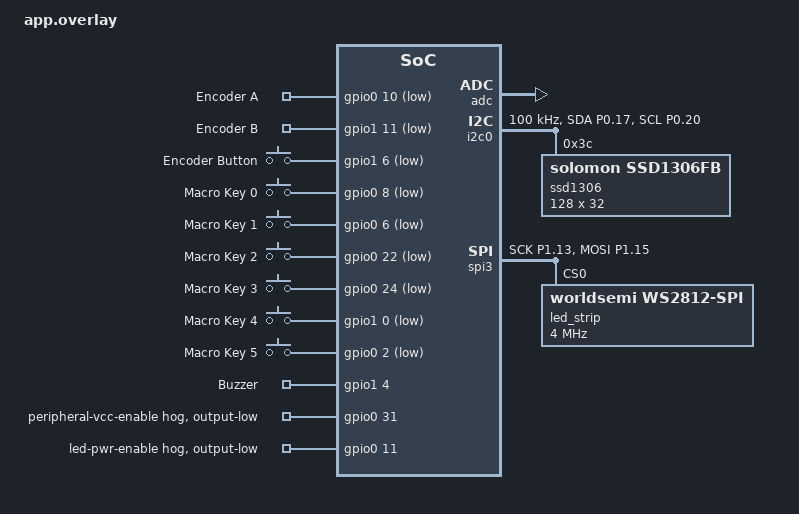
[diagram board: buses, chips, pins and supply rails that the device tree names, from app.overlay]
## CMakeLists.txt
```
# SPDX-License-Identifier: Apache-2.0

cmake_minimum_required(VERSION 3.20.0)

find_package(Zephyr REQUIRED HINTS $ENV{ZEPHYR_BASE})
project(hpadv2)

find_package(Python3 REQUIRED COMPONENTS Interpreter)

set(HPAD_GENERATED_MAIN "${CMAKE_CURRENT_BINARY_DIR}/generated/main.c")
execute_process(
  COMMAND ${Python3_EXECUTABLE}
    ${CMAKE_CURRENT_SOURCE_DIR}/tools/generate_dfu_menu_main.py
    ${CMAKE_CURRENT_SOURCE_DIR}/src/main.c
    ${HPAD_GENERATED_MAIN}
  RESULT_VARIABLE HPAD_DFU_PATCH_RESULT
)
if(NOT HPAD_DFU_PATCH_RESULT EQUAL 0)
  message(FATAL_ERROR "Failed to generate menu-integrated DFU main.c")
endif()

FILE(GLOB app_sources src/*.c)
list(REMOVE_ITEM app_sources
  "${CMAKE_CURRENT_SOURCE_DIR}/src/main.c"
  "${CMAKE_CURRENT_SOURCE_DIR}/src/adafruit_dfu_entry.c"
)
target_sources(app PRIVATE ${app_sources} ${HPAD_GENERATED_MAIN})

find_package(Git QUIET)

set(HPAD_FIRMWARE_VERSION "unknown")

if(GIT_FOUND)
  execute_process(
    COMMAND ${GIT_EXECUTABLE} describe --tags --always --abbrev=12
    WORKING_DIRECTORY ${CMAKE_CURRENT_SOURCE_DIR}
    RESULT_VARIABLE HPAD_GIT_DESCRIBE_RESULT
    OUTPUT_VARIABLE HPAD_GIT_DESCRIBE
    OUTPUT_STRIP_TRAILING_WHITESPACE
    ERROR_QUIET
  )

  if(HPAD_GIT_DESCRIBE_RESULT EQUAL 0 AND NOT HPAD_GIT_DESCRIBE STREQUAL "")
    set(HPAD_FIRMWARE_VERSION "${HPAD_GIT_DESCRIBE}")

    execute_process(
      COMMAND ${GIT_EXECUTABLE} diff-index --quiet HEAD --
      WORKING_DIRECTORY ${CMAKE_CURRENT_SOURCE_DIR}
      RESULT_VARIABLE HPAD_GIT_DIRTY_RESULT
      OUTPUT_QUIET
      ERROR_QUIET
    )

    if(HPAD_GIT_DIRTY_RESULT EQUAL 1
       AND NOT HPAD_GIT_DESCRIBE MATCHES "-g[0-9a-fA-F]+$"
       AND NOT HPAD_GIT_DESCRIBE MATCHES "^[0-9a-fA-F]+$")
      execute_process(
        COMMAND ${GIT_EXECUTABLE} rev-parse --short=12 HEAD
        WORKING_DIRECTORY ${CMAKE_CURRENT_SOURCE_DIR}
        RESULT_VARIABLE HPAD_GIT_HASH_RESULT
        OUTPUT_VARIABLE HPAD_GIT_HASH
        OUTPUT_STRIP_TRAILING_WHITESPACE
        ERROR_QUIET
      )

      if(HPAD_GIT_HASH_RESULT EQUAL 0 AND NOT HPAD_GIT_HASH STREQUAL "")
        set(HPAD_FIRMWARE_VERSION "${HPAD_GIT_DESCRIBE}-${HPAD_GIT_HASH}")
      endif()
    endif()
  endif()
endif()

target_compile_definitions(app PRIVATE
  HPAD_FIRMWARE_VERSION="${HPAD_FIRMWARE_VERSION}"
)
```

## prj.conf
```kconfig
CONFIG_BUILD_OUTPUT_UF2=y

CONFIG_MULTITHREADING=y
CONFIG_STDOUT_CONSOLE=y
CONFIG_HEAP_MEM_POOL_SIZE=16384
CONFIG_MAIN_STACK_SIZE=2048
CONFIG_SYSTEM_WORKQUEUE_STACK_SIZE=2048

CONFIG_LOG=y
CONFIG_LOG_MODE_DEFERRED=y
CONFIG_CONSOLE=y
CONFIG_SERIAL=y
CONFIG_UART_CONSOLE=y
CONFIG_I2C=y
CONFIG_GPIO=y
CONFIG_SPI=y
CONFIG_ADC=y
CONFIG_DISPLAY=y
CONFIG_LED_STRIP=y
CONFIG_WS2812_STRIP_SPI=y
CONFIG_SSD1306=n
CONFIG_CHARACTER_FRAMEBUFFER=y
CONFIG_ESB=y
CONFIG_ESB_DYNAMIC_INTERRUPTS=y
CONFIG_BT=y
CONFIG_BT_PERIPHERAL=y
CONFIG_BT_MAX_CONN=1
CONFIG_BT_MAX_PAIRED=1
CONFIG_BT_SMP=y
CONFIG_BT_DEVICE_NAME="HPADv2 Keyboard"
CONFIG_BT_DEVICE_APPEARANCE=961
CONFIG_BT_GATT_AUTO_SEC_REQ=n
CONFIG_BT_AUTO_PHY_UPDATE=n
CONFIG_BT_SETTINGS=y
CONFIG_BT_HIDS=y
CONFIG_BT_HIDS_MAX_CLIENT_COUNT=1
CONFIG_BT_HIDS_INPUT_REP_MAX=1
CONFIG_BT_HIDS_OUTPUT_REP_MAX=0
CONFIG_BT_HIDS_FEATURE_REP_MAX=0
CONFIG_BT_HIDS_DEFAULT_PERM_RW_ENCRYPT=y
CONFIG_BT_GATT_UUID16_POOL_SIZE=30
CONFIG_BT_GATT_CHRC_POOL_SIZE=12
CONFIG_BT_CONN_CTX=y
CONFIG_MPSL=y
CONFIG_MPSL_DYNAMIC_INTERRUPTS=y
CONFIG_MPSL_WORK_STACK_SIZE=640
CONFIG_BT_UNINIT_MPSL_ON_DISABLE=y
CONFIG_ENTROPY_GENERATOR=y
CONFIG_SETTINGS=y
CONFIG_SETTINGS_NVS=y
CONFIG_FLASH=y
CONFIG_FLASH_PAGE_LAYOUT=y
CONFIG_FLASH_MAP=y
CONFIG_NVS=y
CONFIG_MPU_ALLOW_FLASH_WRITE=y
CONFIG_POWEROFF=y
CONFIG_REBOOT=y
```

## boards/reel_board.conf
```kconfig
CONFIG_SPI=y
CONFIG_FLASH_LOAD_OFFSET=0x26000
```

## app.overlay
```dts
#include <zephyr/dt-bindings/led/led.h>
#include <zephyr/dt-bindings/pinctrl/nrf-pinctrl.h>

/ {
	chosen {
		zephyr,display = &ssd1306;
	};

	encoder_inputs {
		compatible = "gpio-keys";

		encoder_a: encoder_a {
			gpios = <&gpio0 10 (GPIO_PULL_UP | GPIO_ACTIVE_LOW)>;
			label = "Encoder A";
		};

		encoder_b: encoder_b {
			gpios = <&gpio1 11 (GPIO_PULL_UP | GPIO_ACTIVE_LOW)>;
			label = "Encoder B";
		};

		encoder_button: encoder_button {
			gpios = <&gpio1 6 (GPIO_PULL_UP | GPIO_ACTIVE_LOW)>;
			label = "Encoder Button";
		};
	};

	macropad_keys {
		compatible = "gpio-keys";

		// good
		macro_key_0: macro_key_0 {
			gpios = <&gpio0 8 (GPIO_PULL_UP | GPIO_ACTIVE_LOW)>;
			label = "Macro Key 0";
		};

		// good
		macro_key_1: macro_key_1 {
			gpios = <&gpio0 6 (GPIO_PULL_UP | GPIO_ACTIVE_LOW)>;
			label = "Macro Key 1";
		};

		// good
		macro_key_2: macro_key_2 {
			gpios = <&gpio0 22 (GPIO_PULL_UP | GPIO_ACTIVE_LOW)>;
			label = "Macro Key 2";
		};

		// good
		macro_key_3: macro_key_3 {
			gpios = <&gpio0 24 (GPIO_PULL_UP | GPIO_ACTIVE_LOW)>;
			label = "Macro Key 3";
		};

		//  good
		macro_key_4: macro_key_4 {
			gpios = <&gpio1 0 (GPIO_PULL_UP | GPIO_ACTIVE_LOW)>;
			label = "Macro Key 4";
		};

		// good
		macro_key_5: macro_key_5 {
			gpios = <&gpio0 2 (GPIO_PULL_UP | GPIO_ACTIVE_LOW)>;
			label = "Macro Key 5";
		};
	};

	buzzer_gpio {
		compatible = "gpio-leds";
		buzzer_out: buzzer {
			gpios = <&gpio1 4 GPIO_ACTIVE_HIGH>;
			label = "Buzzer";
		};
	};

	aliases {
		encoder-a = &encoder_a;
		encoder-b = &encoder_b;
		encoder-button = &encoder_button;
		macro-key-0 = &macro_key_0;
		macro-key-1 = &macro_key_1;
		macro-key-2 = &macro_key_2;
		macro-key-3 = &macro_key_3;
		macro-key-4 = &macro_key_4;
		macro-key-5 = &macro_key_5;
		led-strip = &led_strip;
		buzzer = &buzzer_out;
	};
};

&gpio0 {
	peripheral_vcc_enable: peripheral_vcc_enable {
		gpio-hog;
		gpios = <31 GPIO_ACTIVE_HIGH>;
		output-low;
		line-name = "peripheral-vcc-enable";
	};

	led_pwr_enable: led_pwr_enable {
		gpio-hog;
		gpios = <11 GPIO_ACTIVE_HIGH>;
		output-low;
		line-name = "led-pwr-enable";
	};
};

&adc {
	status = "okay";
};

&pinctrl {
	oled_i2c_default: oled_i2c_default {
		group1 {
			psels = <NRF_PSEL(TWIM_SDA, 0, 17)>,
				<NRF_PSEL(TWIM_SCL, 0, 20)>;
			bias-pull-up;
		};
	};

	oled_i2c_sleep: oled_i2c_sleep {
		group1 {
			psels = <NRF_PSEL(TWIM_SDA, 0, 17)>,
				<NRF_PSEL(TWIM_SCL, 0, 20)>;
			low-power-enable;
		};
	};

	ws2812_spi_default: ws2812_spi_default {
		group1 {
			psels = <NRF_PSEL(SPIM_SCK, 1, 13)>,
				<NRF_PSEL(SPIM_MOSI, 1, 15)>;
			nordic,drive-mode = <NRF_DRIVE_H0H1>;
		};
	};

	ws2812_spi_sleep: ws2812_spi_sleep {
		group1 {
			psels = <NRF_PSEL(SPIM_SCK, 1, 13)>,
				<NRF_PSEL(SPIM_MOSI, 1, 15)>;
			low-power-enable;
		};
	};
};

&i2c0 {
	/delete-property/ zephyr,pm-device-runtime-auto;
	compatible = "nordic,nrf-twim";
	clock-frequency = <100000>;
	zephyr,concat-buf-size = <513>;
	zephyr,flash-buf-max-size = <513>;
	pinctrl-0 = <&oled_i2c_default>;
	pinctrl-1 = <&oled_i2c_sleep>;
	pinctrl-names = "default", "sleep";
	status = "okay";

	ssd1306: ssd1306@3c {
		compatible = "solomon,ssd1306fb";
		status = "okay";
		reg = <0x3c>;

		width = <128>;
		height = <32>;

		segment-offset = <0>;
		page-offset = <0>;
		display-offset = <0>;
		multiplex-ratio = <31>;
		com-sequential;
		prechargep = <0xf1>;
		ready-time-ms = <100>;
	};
};

&spi3 {
	compatible = "nordic,nrf-spim";
	pinctrl-0 = <&ws2812_spi_default>;
	pinctrl-1 = <&ws2812_spi_sleep>;
	pinctrl-names = "default", "sleep";
	status = "okay";

	led_strip: ws2812@0 {
		compatible = "worldsemi,ws2812-spi";
		reg = <0>;
		spi-max-frequency = <4000000>;
		chain-length = <6>;
		color-mapping = <LED_COLOR_ID_GREEN LED_COLOR_ID_RED LED_COLOR_ID_BLUE>;
		spi-one-frame = <0x70>;
		spi-zero-frame = <0x40>;
		reset-delay = <80>;
	};
};
```

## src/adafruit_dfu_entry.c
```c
/*
 * SPDX-License-Identifier: Apache-2.0
 *
 * Enter the installed Adafruit nRF52 UF2 bootloader's BLE OTA DFU mode.
 */

#include <stdbool.h>

#include <zephyr/device.h>
#include <zephyr/drivers/gpio.h>
#include <zephyr/kernel.h>
#include <zephyr/logging/log.h>
#include <zephyr/sys/reboot.h>
#include <zephyr/sys/util.h>

#include <hal/nrf_power.h>

LOG_MODULE_REGISTER(adafruit_dfu_entry, LOG_LEVEL_INF);

#define ADAFRUIT_DFU_MAGIC_OTA_RESET 0xA8U
#define ADAFRUIT_DFU_HOLD_MS 4000U

static const struct gpio_dt_spec encoder_button =
	GPIO_DT_SPEC_GET(DT_ALIAS(encoder_button), gpios);

static struct gpio_callback encoder_button_callback;
static struct k_work_delayable dfu_hold_work;

static bool encoder_button_pressed(void)
{
	return gpio_pin_get_dt(&encoder_button) > 0;
}

static void enter_ble_dfu(struct k_work *work)
{
	ARG_UNUSED(work);

	if (!encoder_button_pressed()) {
		return;
	}

	LOG_WRN("Encoder held for %u ms; entering BLE DFU", ADAFRUIT_DFU_HOLD_MS);
	NRF_POWER->GPREGRET = ADAFRUIT_DFU_MAGIC_OTA_RESET;
	sys_reboot(SYS_REBOOT_COLD);
}

static void encoder_button_changed(const struct device *port,
				   struct gpio_callback *callback,
				   uint32_t pins)
{
	ARG_UNUSED(port);
	ARG_UNUSED(callback);

	if ((pins & BIT(encoder_button.pin)) == 0U) {
		return;
	}

	if (encoder_button_pressed()) {
		(void)k_work_reschedule(&dfu_hold_work, K_MSEC(ADAFRUIT_DFU_HOLD_MS));
	} else {
		(void)k_work_cancel_delayable(&dfu_hold_work);
	}
}

static int adafruit_dfu_entry_init(void)
{
	int rc;

	if (!gpio_is_ready_dt(&encoder_button)) {
		LOG_WRN("Encoder button GPIO is not ready; BLE DFU entry disabled");
		return 0;
	}

	k_work_init_delayable(&dfu_hold_work, enter_ble_dfu);

	rc = gpio_pin_configure_dt(&encoder_button, GPIO_INPUT);
	if (rc != 0) {
		LOG_WRN("Failed to configure encoder button for BLE DFU: %d", rc);
		return 0;
	}

	gpio_init_callback(&encoder_button_callback, encoder_button_changed,
		BIT(encoder_button.pin));
	rc = gpio_add_callback(encoder_button.port, &encoder_button_callback);
	if (rc != 0) {
		LOG_WRN("Failed to add BLE DFU encoder callback: %d", rc);
		return 0;
	}

	rc = gpio_pin_interrupt_configure_dt(&encoder_button, GPIO_INT_EDGE_BOTH);
	if (rc != 0) {
		(void)gpio_remove_callback(encoder_button.port, &encoder_button_callback);
		LOG_WRN("Failed to configure BLE DFU encoder interrupt: %d", rc);
		return 0;
	}

	LOG_INF("Hold encoder for %u ms to enter BLE DFU", ADAFRUIT_DFU_HOLD_MS);
	return 0;
}

SYS_INIT(adafruit_dfu_entry_init, APPLICATION, 0);
```

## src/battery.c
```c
#include "battery.h"

#include <errno.h>
#include <stdint.h>

#include <zephyr/drivers/adc.h>
#include <zephyr/device.h>
#include <zephyr/dt-bindings/adc/nrf-saadc.h>
#include <zephyr/logging/log.h>

LOG_MODULE_REGISTER(battery, LOG_LEVEL_INF);

#define BATTERY_ADC_CHANNEL_ID 0U
#define BATTERY_ADC_RESOLUTION 14U
#define BATTERY_ADC_OVERSAMPLING 4U

static const struct device *const battery_adc = DEVICE_DT_GET(DT_NODELABEL(adc));
static bool battery_ready;
static int16_t battery_sample_raw;
static struct adc_channel_cfg battery_channel_cfg = {
	.gain = ADC_GAIN_1_6,
	.reference = ADC_REF_INTERNAL,
	.acquisition_time = ADC_ACQ_TIME(ADC_ACQ_TIME_MICROSECONDS, 40),
	.channel_id = BATTERY_ADC_CHANNEL_ID,
	.input_positive = NRF_SAADC_VDDHDIV5,
};
static struct adc_sequence battery_sequence = {
	.channels = BIT(BATTERY_ADC_CHANNEL_ID),
	.buffer = &battery_sample_raw,
	.buffer_size = sizeof(battery_sample_raw),
	.oversampling = BATTERY_ADC_OVERSAMPLING,
	.calibrate = true,
	.resolution = BATTERY_ADC_RESOLUTION,
};

int battery_init(void)
{
	int rc;

	if (!device_is_ready(battery_adc)) {
		LOG_WRN("Battery ADC not ready");
		return -ENODEV;
	}

	rc = adc_channel_setup(battery_adc, &battery_channel_cfg);
	if (rc != 0) {
		LOG_ERR("Battery ADC channel setup failed: %d", rc);
		return rc;
	}

	battery_ready = true;
	return 0;
}

uint16_t battery_sample_mv(void)
{
	int rc;
	int32_t sample_mv;

	if (!battery_ready) {
		return 0U;
	}

	rc = adc_read(battery_adc, &battery_sequence);
	battery_sequence.calibrate = false;
	if (rc != 0) {
		LOG_WRN("Battery ADC read failed: %d", rc);
		return 0U;
	}

	sample_mv = battery_sample_raw;
	rc = adc_raw_to_millivolts(adc_ref_internal(battery_adc),
		battery_channel_cfg.gain,
		battery_sequence.resolution,
		&sample_mv);
	if (rc != 0) {
		LOG_WRN("Battery ADC conversion failed: %d", rc);
		return 0U;
	}

	sample_mv *= 5;
	if (sample_mv <= 0) {
		return 0U;
	}
	if (sample_mv > UINT16_MAX) {
		return UINT16_MAX;
	}

	return (uint16_t)sample_mv;
}
```

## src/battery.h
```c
#ifndef HPADV2_BATTERY_H_
#define HPADV2_BATTERY_H_

#include <stdint.h>

int battery_init(void);
uint16_t battery_sample_mv(void);

#endif
```

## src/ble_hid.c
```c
#include "ble_hid.h"

#include <errno.h>
#include <stdbool.h>
#include <stdint.h>
#include <string.h>

#include <bluetooth/services/hids.h>
#include <zephyr/bluetooth/bluetooth.h>
#include <zephyr/bluetooth/conn.h>
#include <zephyr/bluetooth/gatt.h>
#include <zephyr/bluetooth/hci.h>
#include <zephyr/bluetooth/uuid.h>
#include <zephyr/kernel.h>
#include <zephyr/logging/log.h>
#include <zephyr/settings/settings.h>
#include <zephyr/sys/atomic.h>
#include <zephyr/sys/util.h>

LOG_MODULE_REGISTER(ble_hid, LOG_LEVEL_INF);

#define BLE_HID_DEVICE_NAME CONFIG_BT_DEVICE_NAME
#define BLE_HID_DEVICE_NAME_LEN (sizeof(BLE_HID_DEVICE_NAME) - 1)
#define BASE_USB_HID_SPEC_VERSION 0x0101
#define INPUT_REP_KEYS_IDX 0
#define INPUT_REP_KEYS_REF_ID 0
#define INPUT_REP_KEYS_LEN 8
#define HID_KEY_ARRAY_OFFSET 2U
#define HID_KEY_ARRAY_LEN 6U
#define KEY_1_MASK BIT(0)
#define KEY_2_MASK BIT(1)
#define KEY_3_MASK BIT(2)
#define KEY_4_MASK BIT(3)
#define KEY_5_MASK BIT(4)
#define KEY_6_MASK BIT(5)
#define HID_USAGE_KEYBOARD_ESCAPE 0x29
#define HID_USAGE_KEYBOARD_HOME 0x4A
#define HID_USAGE_KEYBOARD_PAGE_UP 0x4B
#define HID_USAGE_KEYBOARD_PAGE_DOWN 0x4E

BT_HIDS_DEF(hids_obj, INPUT_REP_KEYS_LEN);

struct ble_hid_key_mapping {
	uint8_t key_mask;
	uint8_t usage;
};

static const struct ble_hid_key_mapping kindle_key_mappings[] = {
	{ .key_mask = KEY_1_MASK, .usage = HID_USAGE_KEYBOARD_HOME },
	{ .key_mask = KEY_2_MASK, .usage = HID_USAGE_KEYBOARD_ESCAPE },
	{ .key_mask = KEY_3_MASK, .usage = BLE_HID_USAGE_KEYBOARD_UP_ARROW },
	{ .key_mask = KEY_4_MASK, .usage = HID_USAGE_KEYBOARD_PAGE_DOWN },
	{ .key_mask = KEY_5_MASK, .usage = BLE_HID_USAGE_KEYBOARD_DOWN_ARROW },
	{ .key_mask = KEY_6_MASK, .usage = HID_USAGE_KEYBOARD_PAGE_UP },
};

static struct bt_conn *active_conn;
static bool hids_initialized;
static bool advertising;
static bool ble_active;
static bool protocol_boot;
static uint8_t current_matrix_keys;
static uint8_t last_report[INPUT_REP_KEYS_LEN];
static atomic_t ble_state = ATOMIC_INIT(BLE_HID_STATE_INACTIVE);

static void state_set(enum ble_hid_state state)
{
	atomic_set(&ble_state, (atomic_val_t)state);
}

static const struct bt_data ad[] = {
	BT_DATA_BYTES(BT_DATA_GAP_APPEARANCE,
		(CONFIG_BT_DEVICE_APPEARANCE >> 0) & 0xff,
		(CONFIG_BT_DEVICE_APPEARANCE >> 8) & 0xff),
	BT_DATA_BYTES(BT_DATA_FLAGS, (BT_LE_AD_GENERAL | BT_LE_AD_NO_BREDR)),
	BT_DATA_BYTES(BT_DATA_UUID16_ALL, BT_UUID_16_ENCODE(BT_UUID_HIDS_VAL)),
};

static const struct bt_data sd[] = {
	BT_DATA(BT_DATA_NAME_COMPLETE, BLE_HID_DEVICE_NAME, BLE_HID_DEVICE_NAME_LEN),
};

static int advertising_start(void)
{
	const struct bt_le_adv_param *adv_param =
		BT_LE_ADV_PARAM(BT_LE_ADV_OPT_CONN,
			BT_GAP_ADV_FAST_INT_MIN_2,
			BT_GAP_ADV_FAST_INT_MAX_2,
			NULL);
	int rc;

	if (!ble_active || !bt_is_ready()) {
		state_set(BLE_HID_STATE_ERROR);
		return -EAGAIN;
	}

	rc = bt_le_adv_start(adv_param, ad, ARRAY_SIZE(ad), sd, ARRAY_SIZE(sd));
	if (rc == -EALREADY) {
		advertising = true;
		state_set(BLE_HID_STATE_ADVERTISING);
		return 0;
	}
	if (rc != 0) {
		LOG_WRN("BLE advertising start failed: %d", rc);
		state_set(BLE_HID_STATE_ERROR);
		return rc;
	}

	advertising = true;
	state_set(BLE_HID_STATE_ADVERTISING);
	LOG_INF("BLE HID advertising started");
	return 0;
}

static void advertising_stop(void)
{
	int rc;

	if (!bt_is_ready()) {
		advertising = false;
		return;
	}

	rc = bt_le_adv_stop();
	if ((rc != 0) && (rc != -EALREADY) && (rc != -EINVAL)) {
		LOG_WRN("BLE advertising stop failed: %d", rc);
	}
	advertising = false;
}

static void connected(struct bt_conn *conn, uint8_t err)
{
	int rc;

	if (!ble_active) {
		(void)bt_conn_disconnect(conn, BT_HCI_ERR_REMOTE_USER_TERM_CONN);
		return;
	}

	if (err != 0U) {
		LOG_WRN("BLE connection failed: 0x%02x", err);
		state_set(BLE_HID_STATE_ERROR);
		(void)advertising_start();
		return;
	}

	rc = bt_hids_connected(&hids_obj, conn);
	if (rc != 0) {
		LOG_WRN("Failed to notify HIDS about connection: %d", rc);
		state_set(BLE_HID_STATE_ERROR);
		(void)bt_conn_disconnect(conn, BT_HCI_ERR_REMOTE_USER_TERM_CONN);
		return;
	}

	if (active_conn != NULL) {
		(void)bt_conn_disconnect(conn, BT_HCI_ERR_REMOTE_USER_TERM_CONN);
		return;
	}

	active_conn = bt_conn_ref(conn);
	protocol_boot = false;
	advertising = false;
	state_set(BLE_HID_STATE_CONNECTED);
	LOG_INF("BLE HID connected");
}

static void disconnected(struct bt_conn *conn, uint8_t reason)
{
	int rc;

	rc = bt_hids_disconnected(&hids_obj, conn);
	if (rc != 0) {
		LOG_WRN("Failed to notify HIDS about disconnection: %d", rc);
	}

	if (active_conn == conn) {
		bt_conn_unref(active_conn);
		active_conn = NULL;
	}

	memset(last_report, 0, sizeof(last_report));
	current_matrix_keys = 0U;
	LOG_INF("BLE HID disconnected reason=0x%02x", reason);

	if (ble_active) {
		(void)advertising_start();
	} else {
		state_set(BLE_HID_STATE_INACTIVE);
	}
}

static void security_changed(struct bt_conn *conn, bt_security_t level,
			     enum bt_security_err err)
{
	ARG_UNUSED(conn);

	if (err != 0) {
		LOG_WRN("BLE security failed level=%u err=%d", level, err);
		if (ble_active && (conn == active_conn)) {
			state_set(BLE_HID_STATE_SECURITY_FAILED);
		}
		return;
	}

	if (ble_active && (conn == active_conn)) {
		state_set(BLE_HID_STATE_CONNECTED);
	}
	LOG_INF("BLE security changed level=%u", level);
}

BT_CONN_CB_DEFINE(conn_callbacks) = {
	.connected = connected,
	.disconnected = disconnected,
	.security_changed = security_changed,
};

static void hids_pm_evt_handler(enum bt_hids_pm_evt evt, struct bt_conn *conn)
{
	if (conn != active_conn) {
		return;
	}

	protocol_boot = (evt == BT_HIDS_PM_EVT_BOOT_MODE_ENTERED);
}

static int hids_init_once(void)
{
	static const uint8_t report_map[] = {
		0x05, 0x01,       /* Usage Page (Generic Desktop) */
		0x09, 0x06,       /* Usage (Keyboard) */
		0xA1, 0x01,       /* Collection (Application) */
		0x05, 0x07,       /* Usage Page (Key Codes) */
		0x19, 0xE0,       /* Usage Minimum (224) */
		0x29, 0xE7,       /* Usage Maximum (231) */
		0x15, 0x00,       /* Logical Minimum (0) */
		0x25, 0x01,       /* Logical Maximum (1) */
		0x75, 0x01,       /* Report Size (1) */
		0x95, 0x08,       /* Report Count (8) */
		0x81, 0x02,       /* Input (Data, Variable, Absolute) */
		0x95, 0x01,       /* Report Count (1) */
		0x75, 0x08,       /* Report Size (8) */
		0x81, 0x01,       /* Input (Constant) */
		0x95, 0x06,       /* Report Count (6) */
		0x75, 0x08,       /* Report Size (8) */
		0x15, 0x00,       /* Logical Minimum (0) */
		0x25, 0x65,       /* Logical Maximum (101) */
		0x05, 0x07,       /* Usage Page (Key Codes) */
		0x19, 0x00,       /* Usage Minimum (0) */
		0x29, 0x65,       /* Usage Maximum (101) */
		0x81, 0x00,       /* Input (Data, Array) */
		0xC0,             /* End Collection */
	};
	struct bt_hids_init_param hids_init = { 0 };
	struct bt_hids_inp_rep *input_report;
	int rc;

	if (hids_initialized) {
		return 0;
	}

	hids_init.info.bcd_hid = BASE_USB_HID_SPEC_VERSION;
	hids_init.info.b_country_code = 0x00;
	hids_init.info.flags = BT_HIDS_REMOTE_WAKE | BT_HIDS_NORMALLY_CONNECTABLE;
	hids_init.rep_map.data = report_map;
	hids_init.rep_map.size = sizeof(report_map);
	hids_init.is_kb = true;
	hids_init.pm_evt_handler = hids_pm_evt_handler;

	input_report = &hids_init.inp_rep_group_init.reports[INPUT_REP_KEYS_IDX];
	input_report->id = INPUT_REP_KEYS_REF_ID;
	input_report->size = INPUT_REP_KEYS_LEN;
	hids_init.inp_rep_group_init.cnt++;

	rc = bt_hids_init(&hids_obj, &hids_init);
	if (rc != 0) {
		LOG_ERR("HIDS init failed: %d", rc);
		return rc;
	}

	hids_initialized = true;
	return 0;
}

static bool report_contains_usage(const uint8_t report[INPUT_REP_KEYS_LEN], uint8_t usage)
{
	for (size_t index = 0U; index < HID_KEY_ARRAY_LEN; ++index) {
		if (report[HID_KEY_ARRAY_OFFSET + index] == usage) {
			return true;
		}
	}

	return false;
}

static int report_append_usage(uint8_t report[INPUT_REP_KEYS_LEN], uint8_t usage)
{
	if (usage == 0U) {
		return 0;
	}

	if (report_contains_usage(report, usage)) {
		return 0;
	}

	for (size_t index = 0U; index < HID_KEY_ARRAY_LEN; ++index) {
		size_t report_index = HID_KEY_ARRAY_OFFSET + index;

		if (report[report_index] == 0U) {
			report[report_index] = usage;
			return 0;
		}
	}

	return -ENOMEM;
}

static int build_report_from_matrix_keys(uint8_t keys, uint8_t report[INPUT_REP_KEYS_LEN])
{
	memset(report, 0, INPUT_REP_KEYS_LEN);

	for (size_t index = 0U; index < ARRAY_SIZE(kindle_key_mappings); ++index) {
		if ((keys & kindle_key_mappings[index].key_mask) == 0U) {
			continue;
		}

		int rc = report_append_usage(report, kindle_key_mappings[index].usage);

		if (rc != 0) {
			return rc;
		}
	}

	return 0;
}

static int ble_hid_send_report(const uint8_t report[INPUT_REP_KEYS_LEN], bool force)
{
	int rc;

	if (!ble_active) {
		return -EAGAIN;
	}
	if (active_conn == NULL) {
		return -ENOTCONN;
	}

	if (!force && (memcmp(last_report, report, sizeof(last_report)) == 0)) {
		return 0;
	}

	if (protocol_boot) {
		rc = bt_hids_boot_kb_inp_rep_send(&hids_obj, active_conn,
			report, INPUT_REP_KEYS_LEN, NULL);
	} else {
		rc = bt_hids_inp_rep_send(&hids_obj, active_conn,
			INPUT_REP_KEYS_IDX, report, INPUT_REP_KEYS_LEN, NULL);
	}
	if (rc != 0) {
		return rc;
	}

	memcpy(last_report, report, sizeof(last_report));
	return 0;
}

int ble_hid_start(void)
{
	int rc;

	state_set(BLE_HID_STATE_STARTING);

	rc = hids_init_once();
	if (rc != 0) {
		state_set(BLE_HID_STATE_ERROR);
		return rc;
	}

	ble_active = true;
	current_matrix_keys = 0U;
	memset(last_report, 0, sizeof(last_report));

	if (!bt_is_ready()) {
		rc = bt_enable(NULL);
		if (rc != 0) {
			ble_active = false;
			state_set(BLE_HID_STATE_ERROR);
			LOG_ERR("Bluetooth init failed: %d", rc);
			return rc;
		}

		if (IS_ENABLED(CONFIG_BT_SETTINGS)) {
			rc = settings_load_subtree("bt");
			if (rc != 0) {
				LOG_WRN("Bluetooth settings load failed: %d", rc);
			}
		}
	}

	rc = advertising_start();
	if (rc != 0) {
		ble_active = false;
		return rc;
	}

	LOG_INF("BLE HID ready");
	return 0;
}

int ble_hid_stop(void)
{
	int rc;

	state_set(BLE_HID_STATE_STOPPING);
	ble_active = false;
	advertising_stop();

	if (active_conn != NULL) {
		(void)bt_hids_disconnected(&hids_obj, active_conn);
		(void)bt_conn_disconnect(active_conn, BT_HCI_ERR_REMOTE_USER_TERM_CONN);
		bt_conn_unref(active_conn);
		active_conn = NULL;
	}

	memset(last_report, 0, sizeof(last_report));
	current_matrix_keys = 0U;
	protocol_boot = false;

	if (!bt_is_ready()) {
		state_set(BLE_HID_STATE_INACTIVE);
		return 0;
	}

	rc = bt_disable();
	if (rc != 0) {
		LOG_WRN("Bluetooth disable failed: %d", rc);
		state_set(BLE_HID_STATE_ERROR);
		return rc;
	}

	state_set(BLE_HID_STATE_INACTIVE);
	LOG_INF("BLE HID stopped");
	return 0;
}

int ble_hid_forget_pairing(void)
{
	bool waiting_for_disconnect = false;
	int rc;

	if (!ble_active || !bt_is_ready()) {
		state_set(BLE_HID_STATE_ERROR);
		return -EAGAIN;
	}

	advertising_stop();

	if (active_conn != NULL) {
		int disconnect_rc;

		(void)bt_hids_disconnected(&hids_obj, active_conn);
		disconnect_rc = bt_conn_disconnect(active_conn, BT_HCI_ERR_REMOTE_USER_TERM_CONN);
		if ((disconnect_rc != 0) && (disconnect_rc != -ENOTCONN)) {
			LOG_WRN("BLE disconnect before unpair failed: %d", disconnect_rc);
		}
		waiting_for_disconnect = (disconnect_rc == 0);
		bt_conn_unref(active_conn);
		active_conn = NULL;
	}

	memset(last_report, 0, sizeof(last_report));
	current_matrix_keys = 0U;
	protocol_boot = false;

	rc = bt_unpair(BT_ID_DEFAULT, NULL);
	if (rc != 0) {
		LOG_WRN("BLE unpair failed: %d", rc);
		state_set(BLE_HID_STATE_ERROR);
		return rc;
	}

	if (waiting_for_disconnect) {
		state_set(BLE_HID_STATE_STARTING);
		LOG_INF("BLE pairing data cleared; waiting for disconnect");
		return 0;
	}

	rc = advertising_start();
	if (rc != 0) {
		return rc;
	}

	LOG_INF("BLE pairing data cleared");
	return 0;
}

int ble_hid_send_key_state(uint8_t keys)
{
	uint8_t report[INPUT_REP_KEYS_LEN] = { 0 };
	int rc;

	rc = build_report_from_matrix_keys(keys, report);
	if (rc != 0) {
		return rc;
	}

	rc = ble_hid_send_report(report, false);
	if (rc == 0) {
		current_matrix_keys = keys;
	}

	return rc;
}

int ble_hid_send_key_tap(uint8_t usage)
{
	uint8_t report[INPUT_REP_KEYS_LEN] = { 0 };
	uint8_t restored_report[INPUT_REP_KEYS_LEN] = { 0 };
	int rc;

	rc = build_report_from_matrix_keys(current_matrix_keys, report);
	if (rc != 0) {
		return rc;
	}

	memcpy(restored_report, report, sizeof(restored_report));
	rc = report_append_usage(report, usage);
	if (rc != 0) {
		return rc;
	}

	rc = ble_hid_send_report(report, true);
	if (rc != 0) {
		return rc;
	}

	return ble_hid_send_report(restored_report, true);
}

bool ble_hid_is_connected(void)
{
	return active_conn != NULL;
}

enum ble_hid_state ble_hid_get_state(void)
{
	return (enum ble_hid_state)atomic_get(&ble_state);
}
```

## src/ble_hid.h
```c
#ifndef HPADV2_BLE_HID_H_
#define HPADV2_BLE_HID_H_

#include <stdbool.h>
#include <stdint.h>

enum ble_hid_state {
	BLE_HID_STATE_INACTIVE = 0,
	BLE_HID_STATE_STARTING,
	BLE_HID_STATE_ADVERTISING,
	BLE_HID_STATE_CONNECTED,
	BLE_HID_STATE_SECURITY_FAILED,
	BLE_HID_STATE_STOPPING,
	BLE_HID_STATE_ERROR,
};

int ble_hid_start(void);
int ble_hid_stop(void);
int ble_hid_forget_pairing(void);
int ble_hid_send_key_state(uint8_t keys);
int ble_hid_send_key_tap(uint8_t usage);
bool ble_hid_is_connected(void);
enum ble_hid_state ble_hid_get_state(void);

#define BLE_HID_USAGE_KEYBOARD_ENTER 0x28
#define BLE_HID_USAGE_KEYBOARD_UP_ARROW 0x52
#define BLE_HID_USAGE_KEYBOARD_DOWN_ARROW 0x51

#endif
```

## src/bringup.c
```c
#include "bringup.h"

#if BRINGUP_STAGE > 0

#include <errno.h>
#include <stdbool.h>
#include <stdint.h>

#include <zephyr/drivers/gpio.h>
#include <zephyr/kernel.h>
#include <zephyr/logging/log.h>

#include "key_leds.h"
#include "macropad_config.h"
#include "status_io.h"

#if BRINGUP_STAGE >= 2
#include "macropad_keys.h"
#endif

#if BRINGUP_STAGE >= 5
#include "status_display.h"
#endif

#if BRINGUP_STAGE >= 6
#include "battery.h"
#include "radio_esb.h"
#include "radio_identity.h"
#endif

LOG_MODULE_REGISTER(bringup, LOG_LEVEL_INF);

#if BRINGUP_STAGE >= 6
static struct {
	uint8_t keys;
	uint8_t encoder_pressed;
} bringup_input_state;
static volatile bool bringup_key_leds_dirty;

static void bringup_render_key_leds(void)
{
	if (bringup_input_state.encoder_pressed != 0U) {
		(void)key_leds_set_all(255U, 255U, 255U);
		return;
	}

	(void)key_leds_update(bringup_input_state.keys);
}

static void bringup_apply_outputs(void)
{
	status_led_set(bringup_input_state.encoder_pressed != 0U);
	status_buzzer_set(bringup_input_state.encoder_pressed != 0U);
	bringup_render_key_leds();
}

static void bringup_send_report(void)
{
	macropad_report_t report = {
		.keys             = bringup_input_state.keys,
		.encoder_delta    = 0,
		.encoder_pressed  = bringup_input_state.encoder_pressed,
		.battery_mv       = battery_sample_mv(),
		.usb_power_present = status_usb_power_present() ? 1U : 0U,
	};
	(void)radio_esb_send_macropad_report(&report);
}
#endif

#if BRINGUP_STAGE >= 2
static void bringup_key_callback(uint8_t key_mask, bool pressed, uint8_t keys)
{
	ARG_UNUSED(key_mask);

	if (pressed) {
		LOG_INF("bringup s2: key PRESS   mask=0x%02x", keys);
	} else {
		LOG_INF("bringup s2: key RELEASE mask=0x%02x", keys);
	}

#if BRINGUP_STAGE >= 6
	bringup_input_state.keys = keys;
	bringup_key_leds_dirty = true;
	bringup_send_report();
#else
	(void)key_leds_update(keys);
#endif
}
#endif

#if BRINGUP_STAGE >= 3

#define BRINGUP_BTN_PIN 6U

static const struct device *bringup_gpio1;

static void bringup_poll_button(void)
{
	int raw = gpio_pin_get_raw(bringup_gpio1, BRINGUP_BTN_PIN);
	uint8_t pressed;

	if (raw < 0) {
		LOG_ERR("bringup: btn read err %d", raw);
		return;
	}

	/* Current board wiring: encoder switch shorts to GND when pressed. */
	pressed = (raw == 0) ? 1U : 0U;

	if (pressed == bringup_input_state.encoder_pressed) {
		return;
	}

	bringup_input_state.encoder_pressed = pressed;
	bringup_apply_outputs();
	bringup_send_report();
}
#endif

int bringup_main(void)
{
	int rc;

	(void)status_led_init();
	status_led_set(false);

	LOG_INF("===== BRINGUP STAGE %d =====", BRINGUP_STAGE);

	LOG_INF("bringup s1: LED strip init");
	rc = macropad_config_init();
	if (rc != 0) {
		LOG_INF("bringup s1: macropad_config_init unavailable (rc=%d)", rc);
	}

	rc = key_leds_init();
	if (rc != 0) {
		LOG_ERR("bringup s1: key_leds_init FAIL (rc=%d)", rc);
	} else {
		rc = key_leds_set_all(0, 0, 0);
		if (rc != 0) {
			LOG_ERR("bringup s1: key_leds_set_all FAIL (rc=%d)", rc);
		} else {
			LOG_INF("bringup s1: LED strip OK");
		}
	}

#if BRINGUP_STAGE >= 2
	LOG_INF("bringup s2: key inputs init");

	rc = macropad_keys_init(bringup_key_callback);
	if (rc == -ENOTSUP) {
		LOG_WRN("bringup s2: key inputs not in devicetree (ENOTSUP) — skipping");
	} else if (rc != 0) {
		LOG_ERR("bringup s2: macropad_keys_init FAIL (rc=%d)", rc);
	} else {
	#if BRINGUP_STAGE >= 6
		bringup_input_state.keys = macropad_keys_get_pressed_mask();
		bringup_key_leds_dirty = true;
	#endif
		LOG_INF("bringup s2: key inputs OK — press keys to test");
	}
#endif

#if BRINGUP_STAGE >= 3
	LOG_INF("bringup s3: raw button + buzzer init");

	bringup_gpio1 = DEVICE_DT_GET(DT_NODELABEL(gpio1));

	if (!device_is_ready(bringup_gpio1)) {
		LOG_ERR("bringup s3: gpio1 not ready");
	} else {
		rc = gpio_pin_configure(bringup_gpio1, BRINGUP_BTN_PIN, GPIO_INPUT | GPIO_PULL_UP);
		if (rc != 0) {
			LOG_ERR("bringup s3: button pin configure FAIL (rc=%d)", rc);
		} else {
			LOG_INF("bringup s3: raw button OK - press encoder to test outputs");
		}
	}

	rc = status_buzzer_init();
	if (rc == -ENOTSUP) {
		LOG_WRN("bringup s3: buzzer not in devicetree (ENOTSUP) - skipping");
	} else if (rc != 0) {
		LOG_ERR("bringup s3: status_buzzer_init FAIL (rc=%d)", rc);
	} else {
		status_buzzer_set(false);
		LOG_INF("bringup s3: buzzer init OK");
	}
#endif

#if BRINGUP_STAGE >= 5
	LOG_INF("bringup s5: display init");

	/* Mirror what main() does before status_display_init():
	 * a blocking LED blink that gives the OLED time to settle. */
	status_led_blink(1, 120, 120);
	status_led_set(false);

	rc = status_display_init();
	if (rc != 0) {
		LOG_WRN("bringup s5: status_display_init FAIL (rc=%d)", rc);
	} else {
		const struct status_display_state display_state = {
			.operating_mode = MACROPAD_MODE_DESKTOP_DONGLE,
			.ble_state = MACROPAD_BLE_LINK_STATE_INACTIVE,
			.connected = false,
			.dongle_activity = false,
			.usb_power_present = false,
			.show_battery_warning = false,
			.battery_mv = 0U,
			.keys_pressed = 0U,
		};

		rc = status_display_render(&display_state);
		if (rc != 0) {
			LOG_WRN("bringup s5: status_display_render FAIL (rc=%d)", rc);
		} else {
			LOG_INF("bringup s5: display OK");
		}
	}
#endif

#if BRINGUP_STAGE >= 6
	LOG_INF("bringup s6: battery monitor init");

	rc = battery_init();
	if (rc != 0) {
		LOG_WRN("bringup s6: battery_init FAIL (rc=%d) — ADC or voltage divider fault",
			rc);
	} else {
		uint16_t mv = battery_sample_mv();
		bool usb   = status_usb_power_present();

		LOG_INF("bringup s6: battery OK  vbat=%u mV  usb_power=%d", mv, (int)usb);
	}
#endif

#if BRINGUP_STAGE >= 6
	LOG_INF("bringup s6: radio init");

	{
		struct dongle_identity identity;
		struct esb_addr_config addr_config;
		uint8_t rf_channel;
		bool generated;

		rc = radio_identity_init();
		if (rc != 0) {
			LOG_ERR("bringup s6: radio_identity_init FAIL (rc=%d)", rc);
			goto bringup_idle;
		}

		rc = radio_identity_load_or_create(&identity, &generated);
		if (rc != 0) {
			LOG_ERR("bringup s6: radio_identity_load_or_create FAIL (rc=%d)", rc);
			goto bringup_idle;
		}
		LOG_INF("bringup s6: identity %s", generated ? "generated" : "loaded");

		rc = radio_identity_derive_esb_config(&identity, &addr_config, &rf_channel);
		if (rc != 0) {
			LOG_ERR("bringup s6: radio_identity_derive_esb_config FAIL (rc=%d)", rc);
			goto bringup_idle;
		}
		radio_identity_log_esb_config(&addr_config, rf_channel);

		rc = radio_esb_init(&addr_config, rf_channel, NULL, NULL);
		if (rc != 0) {
			LOG_ERR("bringup s6: radio_esb_init FAIL (rc=%d)", rc);
			goto bringup_idle;
		}

		rc = radio_esb_start();
		if (rc != 0) {
			LOG_ERR("bringup s6: radio_esb_start FAIL (rc=%d)", rc);
			goto bringup_idle;
		}
		LOG_INF("bringup s6: radio ESB started");
	}
#endif

bringup_idle:
	__attribute__((unused));
	LOG_INF("bringup: stage %d complete — idling. "
		"Increment BRINGUP_STAGE in bringup_config.h when ready.",
		BRINGUP_STAGE);

	status_buzzer_set(false);
	status_led_set(false);
	#if BRINGUP_STAGE >= 6
	bringup_apply_outputs();
	#else
	(void)key_leds_set_all(0, 0, 0);
	#endif

	while (1) {
#if BRINGUP_STAGE >= 6
		bringup_poll_button();

		if (bringup_key_leds_dirty) {
			bringup_key_leds_dirty = false;
			bringup_render_key_leds();
		}

		{
			static int64_t bringup_next_hb_ms;

			if (k_uptime_get() >= bringup_next_hb_ms) {
				macropad_report_t hb = {
					.battery_mv = battery_sample_mv(),
					.usb_power_present = status_usb_power_present() ? 1U : 0U,
				};
				LOG_INF("bringup idle: vbat=%u mV  usb_power=%d",
					hb.battery_mv, (int)hb.usb_power_present);
				(void)radio_esb_send_heartbeat(&hb);
				bringup_next_hb_ms = k_uptime_get() + 1000;
			}
		}
#elif BRINGUP_STAGE >= 3
		bringup_poll_button();
#endif
		k_msleep(10);
	}

	return 0;
}

#endif
```

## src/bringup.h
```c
#ifndef HPADV2_BRINGUP_H_
#define HPADV2_BRINGUP_H_

#include "bringup_config.h"

#if BRINGUP_STAGE > 0

int bringup_main(void);

#endif

#endif
```

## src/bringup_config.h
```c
#ifndef HPADV2_BRINGUP_CONFIG_H_
#define HPADV2_BRINGUP_CONFIG_H_

#define BRINGUP_STAGE 0

#endif
```

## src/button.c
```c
#include "button.h"

#include <errno.h>
#include <stdbool.h>

#include <zephyr/device.h>
#include <zephyr/drivers/gpio.h>
#include <zephyr/kernel.h>
#include <zephyr/logging/log.h>

LOG_MODULE_REGISTER(button, LOG_LEVEL_INF);

#if DT_HAS_ALIAS(sw0)
#define BUTTON_NODE DT_ALIAS(sw0)
#define BUTTON_DEBOUNCE_MS 20

static const struct gpio_dt_spec button = GPIO_DT_SPEC_GET(BUTTON_NODE, gpios);
static struct gpio_callback button_gpio_cb;
static struct k_work_delayable button_poll_work;
static button_state_callback_t button_state_callback;
static bool button_pressed_latched;

static void button_poll_work_handler(struct k_work *work)
{
	bool pressed;
	int state;

	ARG_UNUSED(work);

	state = gpio_pin_get_dt(&button);
	if (state < 0) {
		LOG_ERR("Failed to sample button state: %d", state);
		return;
	}

	LOG_INF("Button state=%d on port=%s pin=%u", state,
		button.port->name, button.pin);

	pressed = (state != 0);
	if (pressed != button_pressed_latched) {
		button_pressed_latched = pressed;
		LOG_INF("Button %s detected on port=%s pin=%u",
			pressed ? "press" : "release", button.port->name, button.pin);
		if (button_state_callback != NULL) {
			button_state_callback(pressed);
		}
	}
}

static void button_gpio_handler(const struct device *port, struct gpio_callback *cb,
				uint32_t pins)
{
	ARG_UNUSED(port);
	ARG_UNUSED(cb);
	ARG_UNUSED(pins);

	(void)k_work_reschedule(&button_poll_work, K_MSEC(BUTTON_DEBOUNCE_MS));
}

int button_init(button_state_callback_t callback)
{
	int rc;

	if (!gpio_is_ready_dt(&button)) {
		return -ENODEV;
	}

	button_state_callback = callback;
	k_work_init_delayable(&button_poll_work, button_poll_work_handler);

	rc = gpio_pin_configure_dt(&button, GPIO_INPUT);
	if (rc != 0) {
		LOG_ERR("Failed to configure button GPIO: %d", rc);
		return rc;
	}

	gpio_init_callback(&button_gpio_cb, button_gpio_handler, BIT(button.pin));
	rc = gpio_add_callback(button.port, &button_gpio_cb);
	if (rc != 0) {
		LOG_ERR("Failed to add button GPIO callback: %d", rc);
		return rc;
	}

	rc = gpio_pin_interrupt_configure_dt(&button, GPIO_INT_EDGE_BOTH);
	if (rc != 0) {
		LOG_ERR("Failed to configure button interrupt: %d", rc);
		return rc;
	}

	(void)k_work_reschedule(&button_poll_work, K_NO_WAIT);

	LOG_INF("Button interrupt initialized on port=%s pin=%u", button.port->name,
		button.pin);
	return 0;
}
#else
int button_init(button_state_callback_t callback)
{
	ARG_UNUSED(callback);
	return -ENOTSUP;
}
#endif
```

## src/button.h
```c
#ifndef HPADV2_BUTTON_H_
#define HPADV2_BUTTON_H_

#include <stdbool.h>

typedef void (*button_state_callback_t)(bool pressed);

int button_init(button_state_callback_t callback);

#endif
```

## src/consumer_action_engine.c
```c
#include "consumer_action_engine.h"

#include <errno.h>

#include <zephyr/logging/log.h>
#include <zephyr/sys/util.h>

LOG_MODULE_REGISTER(consumer_action_engine, LOG_LEVEL_INF);

#define MACROPAD_KEY_MASK BIT_MASK(HPAD_PROTOCOL_KEY_COUNT)

void consumer_action_engine_reset(struct consumer_action_engine *engine)
{
	if (engine == NULL) {
		return;
	}

	engine->previous_keys = 0U;
	engine->previous_encoder_pressed = false;
}

bool consumer_action_engine_input_activity(const struct consumer_action_engine *engine,
					   const macropad_report_t *report)
{
	uint8_t current_keys;

	if ((engine == NULL) || (report == NULL)) {
		return false;
	}

	current_keys = report->keys & MACROPAD_KEY_MASK;
	return (current_keys != engine->previous_keys) ||
		(report->encoder_delta != 0) ||
		(engine->previous_encoder_pressed != (report->encoder_pressed != 0U));
}

static void remember_first_error(int rc, int *first_error)
{
	if ((rc != 0) && (*first_error == 0)) {
		*first_error = rc;
	}
}

int consumer_action_engine_process_report(struct consumer_action_engine *engine,
					  const macropad_report_t *report,
					  consumer_action_engine_key_action_t key_action,
					  consumer_action_engine_trigger_action_t trigger_action,
					  void *user_data)
{
	uint8_t current_keys;
	uint8_t newly_pressed;
	bool encoder_pressed_now;
	int first_error = 0;
	int rc;

	if ((engine == NULL) || (report == NULL) || (trigger_action == NULL)) {
		return -EINVAL;
	}

	current_keys = report->keys & MACROPAD_KEY_MASK;
	newly_pressed = current_keys & ~engine->previous_keys;
	encoder_pressed_now = (report->encoder_pressed != 0U);

	for (uint8_t i = 0; i < HPAD_PROTOCOL_KEY_COUNT; i++) {
		if (newly_pressed & BIT(i)) {
			uint16_t action = CONSUMER_ACTION_NONE;

			if (key_action != NULL) {
				action = key_action(i, user_data);
			}

			if (action != CONSUMER_ACTION_NONE) {
				rc = trigger_action(action, user_data);
				if (rc != 0) {
					LOG_WRN("Consumer action key=%u action=%u failed: %d",
						i, action, rc);
				}
				remember_first_error(rc, &first_error);
			}
		}
	}

	if (report->encoder_delta != 0) {
		uint16_t action = (report->encoder_delta > 0)
			? CONSUMER_ACTION_VOLUME_UP
			: CONSUMER_ACTION_VOLUME_DOWN;
		int steps = (report->encoder_delta > 0)
			? report->encoder_delta
			: -report->encoder_delta;

		for (int s = 0; s < steps; s++) {
			rc = trigger_action(action, user_data);
			if (rc != 0) {
				LOG_WRN("Consumer encoder volume action=%u failed: %d",
					action, rc);
			}
			remember_first_error(rc, &first_error);
		}
	}

	if (!engine->previous_encoder_pressed && encoder_pressed_now) {
		rc = trigger_action(CONSUMER_ACTION_MUTE, user_data);
		if (rc != 0) {
			LOG_WRN("Consumer encoder mute action failed: %d", rc);
		}
		remember_first_error(rc, &first_error);
	}

	engine->previous_keys = current_keys;
	engine->previous_encoder_pressed = encoder_pressed_now;
	return first_error;
}
```

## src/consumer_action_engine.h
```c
#ifndef HPADV2_CONSUMER_ACTION_ENGINE_H_
#define HPADV2_CONSUMER_ACTION_ENGINE_H_

#include <stdbool.h>
#include <stdint.h>

#include "wire_protocol.h"

#define CONSUMER_ACTION_NONE 0U

enum consumer_action_id {
	CONSUMER_ACTION_VOLUME_UP = 1,
	CONSUMER_ACTION_VOLUME_DOWN = 2,
	CONSUMER_ACTION_MUTE = 3,
	CONSUMER_ACTION_NEXT_TRACK = 4,
	CONSUMER_ACTION_PREVIOUS_TRACK = 5,
	CONSUMER_ACTION_STOP = 6,
	CONSUMER_ACTION_PLAY_PAUSE = 7,
};

struct consumer_action_engine {
	uint8_t previous_keys;
	bool previous_encoder_pressed;
};

typedef uint16_t (*consumer_action_engine_key_action_t)(uint8_t key_index,
							void *user_data);
typedef int (*consumer_action_engine_trigger_action_t)(uint16_t action_id,
						       void *user_data);

void consumer_action_engine_reset(struct consumer_action_engine *engine);
bool consumer_action_engine_input_activity(const struct consumer_action_engine *engine,
					   const macropad_report_t *report);
int consumer_action_engine_process_report(struct consumer_action_engine *engine,
					  const macropad_report_t *report,
					  consumer_action_engine_key_action_t key_action,
					  consumer_action_engine_trigger_action_t trigger_action,
					  void *user_data);

#endif
```
